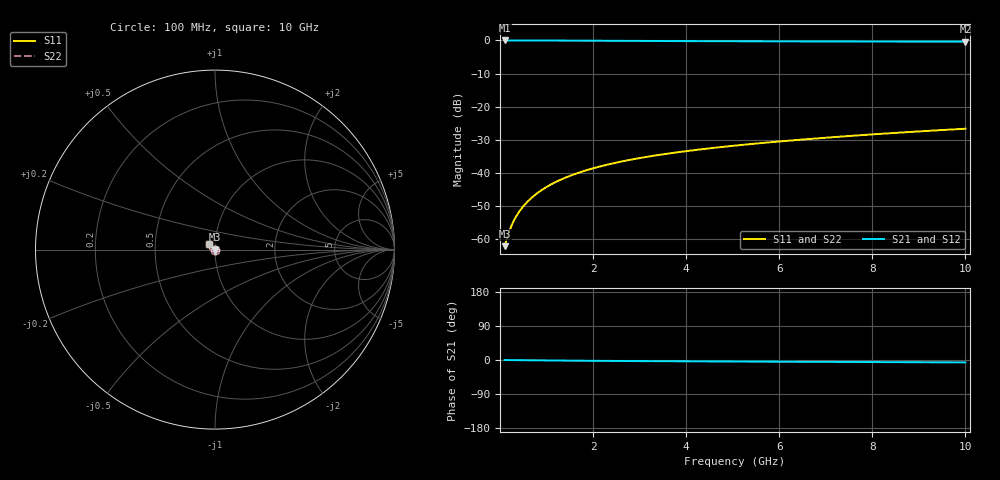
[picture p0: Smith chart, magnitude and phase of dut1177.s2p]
! Touchstone file exported from HFSS 2024.1.0
!  File:  C:/UserFiles/LocalFiles/RDL_TSV_Batchsim/temp_TSV1_1177_1780074347.aedt
!  Generated:  01:13:54 AM May 30, 2026
!  Design:  TSV1
!  Project:  temp_TSV1_1177_1780074347
!  Setup:  Setup1
!  Solution:  Sweep
! Variables:
!  dtsv = 5.68um
!  hbump = 3um
!  htsv = 93.93um
!  lrdl = 252.1521522um
!  p = 40
!  p1 = 53.47um
!  t = 500um
!  trdl = 3um
!  wrdl = 24.89489489um
# GHz S MA R 50.000000
! Terminal data exported
! Port[1] = TSV22_T1
! Port[2] = TSV22_T2
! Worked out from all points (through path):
!   100 points, 100 MHz to 10 GHz, reference 50 ohm
!   highest |S21| = 0.00 dB at 100 MHz (marker M1); lowest = -0.4 dB at 10 GHz (marker M2)
!   lowest |S11| = -62.2 dB at 100 MHz (marker M3), VSWR 1.00, Z = 50 - j0.0625 ohm
!   |S11| at or under -10 dB: start of sweep to end of sweep
!   |S22| runs from -62.2 to -26.7 dB; largest |S21 - S12| = 6e-15
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0.1  0.0007743 -53.7  0.9995 -0.1  0.9995 -0.1  0.0007743 -53.7
! Gamma 0 0 0 0
! Port Impedance 50 0 50 0
0.2  0.001317 -73.1  0.9994 -0.2  0.9994 -0.2  0.001317 -73.1
0.3  0.001903 -82.4  0.9992 -0.4  0.9992 -0.4  0.001903 -82.4
0.4  0.0025 -88.5  0.9991 -0.5  0.9991 -0.5  0.0025 -88.5
0.5  0.0031 -93.2  0.9988 -0.6  0.9988 -0.6  0.0031 -93.2
0.6  0.003701 -97.1  0.9985 -0.7  0.9985 -0.7  0.003701 -97.1
0.7  0.004299 -100.6  0.9982 -0.8  0.9982 -0.8  0.004299 -100.6
0.8  0.004895 -103.8  0.9978 -0.9  0.9978 -0.9  0.004895 -103.8
0.9  0.005487 -106.8  0.9974 -1.0  0.9974 -1.0  0.005487 -106.8
1.1  0.006657 -112.4  0.9964 -1.3  0.9964 -1.3  0.006657 -112.4
1.4  0.008373 -120.1  0.9947 -1.6  0.9947 -1.6  0.008373 -120.1
1.6  0.009488 -124.9  0.9935 -1.8  0.9935 -1.8  0.009488 -124.9
1.8  0.01058 -129.6  0.9922 -1.9  0.9922 -1.9  0.01058 -129.6
2.1  0.01217 -136.1  0.9901 -2.2  0.9901 -2.2  0.01217 -136.1
2.5  0.0142 -144.3  0.9872 -2.5  0.9872 -2.5  0.0142 -144.3
2.9  0.01615 -151.9  0.9844 -2.8  0.9844 -2.8  0.01615 -151.9
3.4  0.01848 -160.5  0.981 -3.1  0.981 -3.1  0.01848 -160.5
4.2  0.02204 -172.6  0.9762 -3.6  0.9762 -3.6  0.02204 -172.6
5.1  0.02589 176.0  0.9716 -4.1  0.9716 -4.1  0.02589 176.0
6.7  0.03255 160.1  0.9657 -4.8  0.9657 -4.8  0.03255 160.1
8.4  0.03959 147.5  0.9613 -5.6  0.9613 -5.6  0.03959 147.5
10  0.04624 138.4  0.9583 -6.3  0.9583 -6.3  0.04624 138.4
